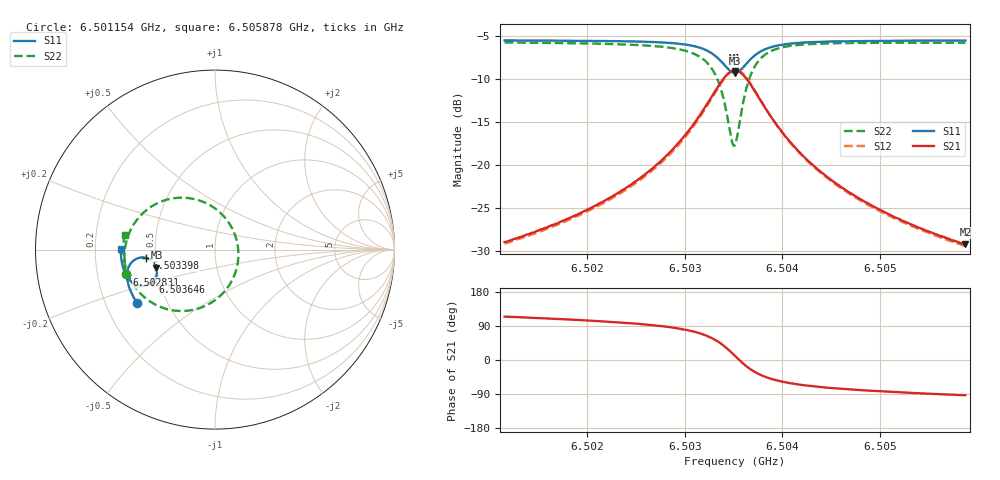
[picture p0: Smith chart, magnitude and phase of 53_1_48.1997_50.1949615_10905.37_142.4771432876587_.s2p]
#  HZ  S  RI  R  50.00
! Rohde & Schwarz Vector Network Analyzer
! Rohde-Schwarz,ZNB20-2Port,1311601062101988,3.16
! Created: UTC 3/20/2024, 11:38:21 AM
! freq[Hz]  re:S11  im:S11  re:S21  im:S21  re:S12  im:S12  re:S22  im:S22
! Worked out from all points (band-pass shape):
!   401 points, 6.501154 GHz to 6.505878 GHz, reference 50 ohm
!   highest |S21| = -9.06 dB at 6.503516 GHz (marker M1); lowest = -29.2 dB at 6.505878 GHz (marker M2)
!   |S21| within 3 dB of the highest: 6.503279 GHz to 6.503752 GHz (473 kHz wide, 0.00727 % of centre)
!   lowest |S11| = -9.3 dB at 6.503516 GHz (marker M3), VSWR 2.04, Z = 25 - j5.69 ohm
!   |S11| at or under -10 dB: nowhere
!   |S22| runs from -17.8 to -5.8 dB; largest |S21 - S12| = 0.012
!   S11 on the Smith chart (normalised r, x): 6.501154 GHz: 0.34, -0.28; 6.502831 GHz: 0.33, -0.13; 6.503398 GHz: 0.45, -0.05; 6.503646 GHz: 0.46, -0.20; 6.505878 GHz: 0.31, +0.00
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6.5011535e9  -0.4355 -0.2959  -0.0148 0.0325  -0.013 0.0324  -0.4949 -0.1347
6.5019449e9  -0.4681 -0.2355  -0.0139 0.0512  -0.0114 0.0506  -0.5044 -0.0467
6.5023937e9  -0.483 -0.1942  -0.0103 0.0727  -0.00722 0.0712  -0.4986 0.0214
6.5027362e9  -0.4901 -0.1543  -0.000454 0.1029  0.00321 0.1005  -0.4764 0.0957
6.5028307e9  -0.4904 -0.1407  0.00561 0.1156  0.00924 0.1124  -0.4635 0.1225
6.5030315e9  -0.4846 -0.106  0.0306 0.1524  0.0342 0.1474  -0.4113 0.1935
6.5031733e9  -0.4682 -0.0754  0.0724 0.1876  0.0749 0.1811  -0.3305 0.2536
6.5033032e9  -0.4305 -0.0484  0.1528 0.2136  0.1535 0.2071  -0.184 0.2892
6.5033977e9  -0.3819 -0.0463  0.2478 0.1955  0.2479 0.1908  -0.0191 0.2425
6.5034804e9  -0.3376 -0.0774  0.3287 0.117  0.3312 0.1128  0.1095 0.0871
6.5035158e9  -0.3264 -0.1006  0.3463 0.0659  0.3504 0.0606  0.1301 -0.00875
6.5035394e9  -0.3234 -0.1177  0.3498 0.0301  0.3539 0.023  0.1268 -0.0751
6.5035748e9  -0.3258 -0.1428  0.3414 -0.0222  0.3452 -0.0314  0.0971 -0.1676
6.5036457e9  -0.3491 -0.1814  0.2923 -0.1008  0.2922 -0.113  -0.019 -0.2948
6.5037402e9  -0.3915 -0.2017  0.2107 -0.1451  0.2055 -0.1558  -0.1852 -0.3422
6.5038111e9  -0.4185 -0.2018  0.1613 -0.1502  0.1542 -0.1584  -0.2778 -0.3286
6.5038938e9  -0.4423 -0.1945  0.1192 -0.1438  0.1118 -0.1496  -0.3513 -0.2956
6.5040591e9  -0.4722 -0.1734  0.0698 -0.1219  0.0631 -0.1246  -0.4317 -0.2262
6.5043072e9  -0.495 -0.1422  0.0358 -0.094  0.0306 -0.0945  -0.4806 -0.146
6.5046851e9  -0.5116 -0.1014  0.0151 -0.0678  0.0116 -0.0674  -0.5048 -0.0652
6.5050985e9  -0.5206 -0.0624  0.00568 -0.0513  0.00312 -0.0506  -0.5107 -0.00351
6.5058781e9  -0.5261 0.00464  -0.00175 -0.0345  -0.00326 -0.0337  -0.5039 0.0828
